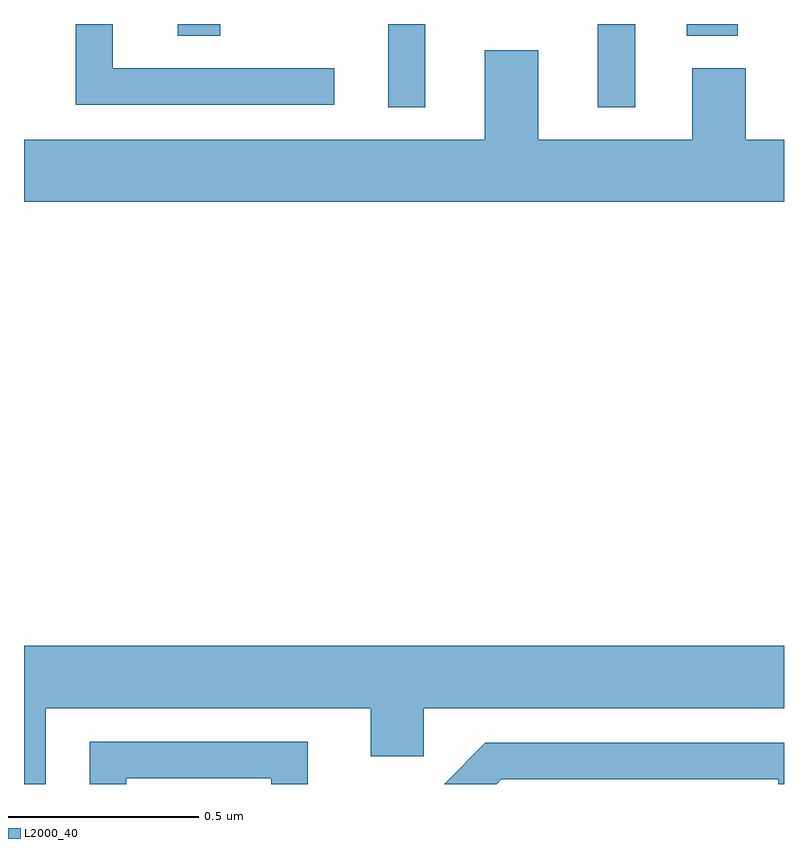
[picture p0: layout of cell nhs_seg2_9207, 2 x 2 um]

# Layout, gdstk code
import gdstk
lib = gdstk.Library(unit=1e-6, precision=1e-09)
def R(c, l, rs):  # rectangles x0, y0, x1, y1
    for r in rs: c.add(gdstk.rectangle(r[:2], r[2:], *l))
def P(c, l, *ps):  # polygons
    for p in ps: c.add(gdstk.Polygon(p, *l))
L2000_40 = (2000, 40)

nhs_seg2_9207 = lib.new_cell('nhs_seg2_9207')
R(nhs_seg2_9207, L2000_40, [(226.958,618.581,227.056,618.8), (227.51,618.581,227.608,618.8), (226.404,618.769,226.517,618.8), (227.744,618.769,227.878,618.8)])
P(nhs_seg2_9207, L2000_40, [(226.816,618.684),(226.234,618.684),(226.234,618.8),(226.136,618.8),(226.136,618.588),(226.816,618.588)],
  [(228,618.496),(227.899,618.496),(227.899,618.684),(227.759,618.684),(227.759,618.496),(227.353,618.496),(227.353,618.731),(227.213,618.731),(227.213,618.496),(226,618.496),(226,618.332),(228,618.332)],
  [(226.057,617),(226.913,617),(226.913,616.873),(227.052,616.873),(227.052,617),(228,617),(228,617.164),(226,617.164),(226,616.8),(226.057,616.8)],
  [(226.269,616.815),(226.65,616.815),(226.65,616.8),(226.747,616.8),(226.747,616.911),(226.173,616.911),(226.173,616.8),(226.269,616.8)],
  [(227.256,616.812),(227.985,616.812),(227.985,616.8),(228,616.8),(228,616.908),(227.214,616.908),(227.106,616.8),(227.244,616.8)])

lib.write_gds('nhs_seg2_9207.gds')
